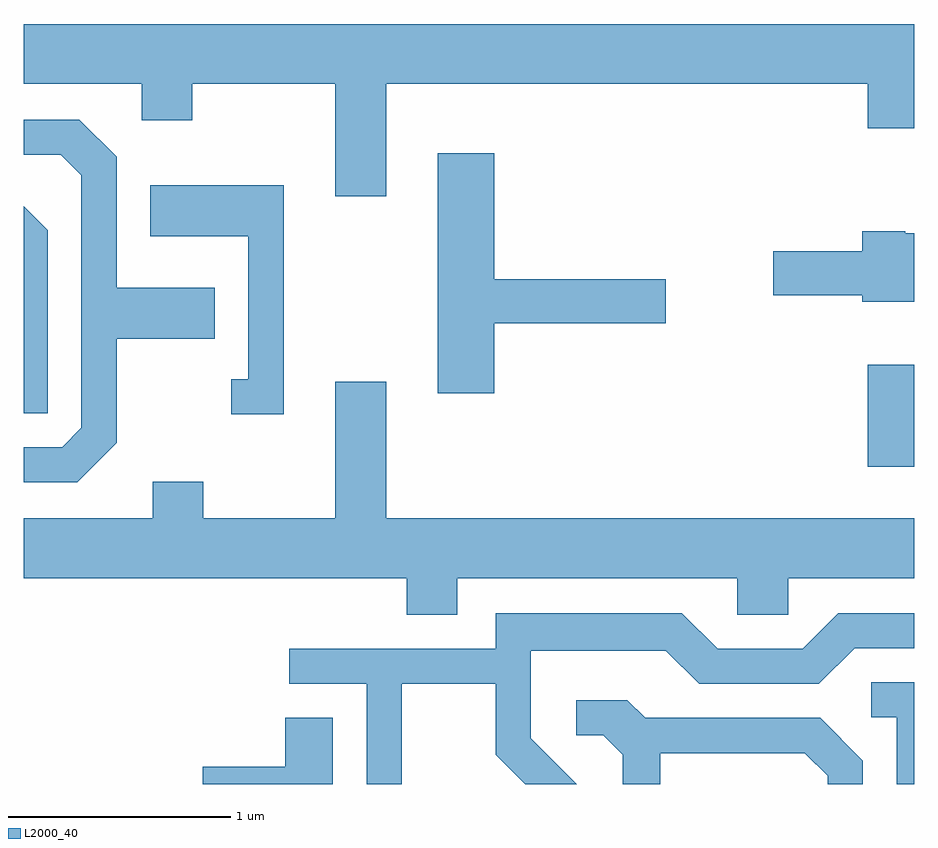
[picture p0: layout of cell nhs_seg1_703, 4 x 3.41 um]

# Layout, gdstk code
import gdstk
lib = gdstk.Library(unit=1e-6, precision=1e-09)
def R(c, l, rs):  # rectangles x0, y0, x1, y1
    for r in rs: c.add(gdstk.rectangle(r[:2], r[2:], *l))
def P(c, l, *ps):  # polygons
    for p in ps: c.add(gdstk.Polygon(p, *l))
L2000_40 = (2000, 40)

nhs_seg1_703 = lib.new_cell('nhs_seg1_703')
R(nhs_seg1_703, L2000_40, [(209.401,951.136,209.611,951.594)])
P(nhs_seg1_703, L2000_40, [(207.239,952.856),(209.401,952.856),(209.401,952.656),(209.611,952.656),(209.611,953.124),(205.611,953.124),(205.611,952.856),(206.141,952.856),(206.141,952.691),(206.369,952.691),(206.369,952.856),(207.011,952.856),(207.011,952.351),(207.239,952.351)],
  [(206.029,951.244),(206.029,951.711),(206.469,951.711),(206.469,951.939),(206.029,951.939),(206.029,952.527),(205.862,952.694),(205.611,952.694),(205.611,952.536),(205.779,952.536),(205.871,952.444),(205.871,951.312),(205.784,951.224),(205.611,951.224),(205.611,951.066),(205.852,951.066)],
  [(207.724,951.781),(208.494,951.781),(208.494,951.979),(207.724,951.979),(207.724,952.544),(207.471,952.544),(207.471,951.466),(207.724,951.466)],
  [(206.779,952.399),(206.181,952.399),(206.181,952.171),(206.621,952.171),(206.621,951.529),(206.543,951.529),(206.543,951.371),(206.779,951.371)],
  [(205.719,952.197),(205.611,952.305),(205.611,951.376),(205.719,951.376)],
  [(209.611,952.184),(209.57,952.184),(209.57,952.194),(209.376,952.194),(209.376,952.104),(208.976,952.104),(208.976,951.906),(209.376,951.906),(209.376,951.876),(209.611,951.876)],
  [(207.559,950.636),(208.816,950.636),(208.816,950.471),(209.044,950.471),(209.044,950.636),(209.611,950.636),(209.611,950.904),(207.239,950.904),(207.239,951.519),(207.011,951.519),(207.011,950.904),(206.419,950.904),(206.419,951.069),(206.191,951.069),(206.191,950.904),(205.611,950.904),(205.611,950.636),(207.331,950.636),(207.331,950.471),(207.559,950.471)],
  [(207.309,950.161),(207.731,950.161),(207.731,949.844),(207.863,949.712),(208.094,949.712),(207.889,949.917),(207.889,950.311),(208.494,950.311),(208.644,950.161),(209.182,950.161),(209.342,950.321),(209.611,950.321),(209.611,950.479),(209.269,950.479),(209.109,950.319),(208.727,950.319),(208.567,950.479),(207.731,950.479),(207.731,950.319),(206.803,950.319),(206.803,950.161),(207.151,950.161),(207.151,949.712),(207.309,949.712)],
  [(209.611,950.169),(209.418,950.169),(209.418,950.011),(209.531,950.011),(209.531,949.712),(209.611,949.712)],
  [(208.469,949.851),(209.119,949.851),(209.221,949.749),(209.221,949.712),(209.379,949.712),(209.379,949.817),(209.187,950.009),(208.402,950.009),(208.322,950.089),(208.093,950.089),(208.093,949.931),(208.214,949.931),(208.301,949.844),(208.301,949.712),(208.469,949.712)],
  [(206.999,950.009),(206.786,950.009),(206.786,949.789),(206.416,949.789),(206.416,949.712),(206.999,949.712)])

lib.write_gds('nhs_seg1_703.gds')
